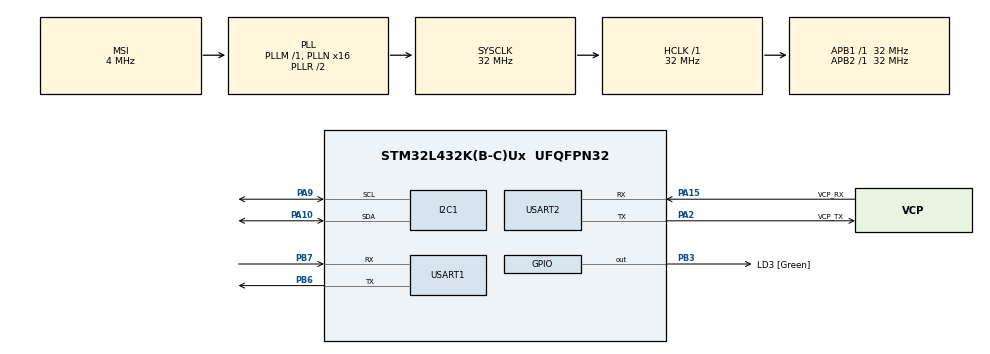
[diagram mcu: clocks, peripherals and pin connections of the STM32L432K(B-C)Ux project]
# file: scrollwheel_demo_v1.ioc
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I2C1.Timing=0x00707CBB
Mcu.Family=STM32L4
Mcu.Name=STM32L432K(B-C)Ux
Mcu.Package=UFQFPN32
NVIC.PriorityGroup=NVIC_PRIORITYGROUP_4
PA0.GPIO_Label=MCO [High speed clock in]
PA0.Mode=HSE-External-Clock-Source-for-LittleOrca
PA0.Signal=RCC_CK_IN
PA10.Mode=I2C
PA10.Signal=I2C1_SDA
PA13\ (JTMS-SWDIO).GPIO_Label=SWDIO
PA13\ (JTMS-SWDIO).Mode=Serial_Wire
PA13\ (JTMS-SWDIO).Signal=SYS_JTMS-SWDIO
PA14\ (JTCK-SWCLK).GPIO_Label=SWCLK
PA14\ (JTCK-SWCLK).Mode=Serial_Wire
PA14\ (JTCK-SWCLK).Signal=SYS_JTCK-SWCLK
PA15\ (JTDI).GPIO_Label=VCP_RX
PA15\ (JTDI).Mode=Asynchronous
PA15\ (JTDI).Signal=USART2_RX
PA2.GPIO_Label=VCP_TX
PA2.Mode=Asynchronous
PA2.Signal=USART2_TX
PA9.Mode=I2C
PA9.Signal=I2C1_SCL
PB3\ (JTDO-TRACESWO).GPIO_Label=LD3 [Green]
PB3\ (JTDO-TRACESWO).Signal=GPIO_Output
PB6.Mode=Asynchronous
PB6.Signal=USART1_TX
PB7.Mode=Asynchronous
PB7.Signal=USART1_RX
PC14-OSC32_IN\ (PC14).Mode=LSE-External-Oscillator
PC14-OSC32_IN\ (PC14).Signal=RCC_OSC32_IN
PC15-OSC32_OUT\ (PC15).Mode=LSE-External-Oscillator
PC15-OSC32_OUT\ (PC15).Signal=RCC_OSC32_OUT
ProjectManager.HeapSize=0x200
ProjectManager.StackSize=0x400
ProjectManager.TargetToolchain=STM32CubeIDE
RCC.ADCFreq_Value=16000000
RCC.AHBFreq_Value=32000000
RCC.APB1Freq_Value=32000000
RCC.APB1TimFreq_Value=32000000
RCC.APB2Freq_Value=32000000
RCC.APB2TimFreq_Value=32000000
RCC.CortexFreq_Value=32000000
RCC.HCLKFreq_Value=32000000
RCC.HSE_VALUE=8000000
RCC.HSI16_VALUE=16000000
RCC.HSI48_VALUE=48000000
RCC.HSI_VALUE=16000000
RCC.MSI_VALUE=4000000
RCC.PLLMUL=RCC_PLLMUL_4
RCC.PLLN=16
RCC.SYSCLKFreq_VALUE=32000000
RCC.SYSCLKSource=RCC_SYSCLKSOURCE_PLLCLK
RCC.USBFreq_Value=16000000
RCC.VCOOutputFreq_Value=64000000
USART1.VirtualMode-Asynchronous=VM_ASYNC
USART2.VirtualMode-Asynchronous=VM_ASYNC
board=NUCLEO-L432KC

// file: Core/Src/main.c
/* USER CODE BEGIN Header */
/**
  ******************************************************************************
  * @file           : main.c
  * @brief          : Main program body
  ******************************************************************************
  * @attention
  *
  * Copyright (c) 2024 STMicroelectronics.
  * All rights reserved.
  *
  * This software is licensed under terms that can be found in the LICENSE file
  * in the root directory of this software component.
  * If no LICENSE file comes with this software, it is provided AS-IS.
  *
  ******************************************************************************
  */
/* USER CODE END Header */
#include "main.h"
#include "stm32l4xx_hal.h"
#include "pram.h"

/* USER CODE BEGIN Includes */
#include <stdio.h>
#include <string.h>
#include <math.h>
#include <unistd.h>
#include <stdbool.h> // bool型を使用するために必要
#include <stdlib.h>  // exit関数を使用するために必要

//64bitデータを取り扱うにはコンパイル方式をreduced CからStandard Cに変更させる必要がある
#include <stdint.h>   // uint64_tの定義用
#include <inttypes.h> // PRIu64などのフォーマット指定子用
/* USER CODE END Includes */

/* USER CODE BEGIN PD */
#define Flash_Page_Size 2048  // 1ページ = 2048バイト（2KB）
#define FLASH_BASE_ADDR 0x08000000  // Flashメモリの開始アドレス
/* USER CODE END PD */

I2C_HandleTypeDef hi2c1;
UART_HandleTypeDef huart1;
UART_HandleTypeDef huart2;

/* USER CODE BEGIN PV */
uint8_t dev_address_1 = 0x10;    /* sensor1のスレーブアドレス */
uint8_t dev_address_2 = 0x11;    /* sensor2のスレーブアドレス */
uint8_t eeprom_address = 0x50;    /* eepromのスレーブアドレス,0b1010000 */

/* EEPROM格納用配列 */
double eeprom[1000];    /* すべて倍精度浮動小数点数型doubleで格納。ひとつの数値に8byte使う */
double flash[512];  // flash2ページ分のアドレス512

/* USER CODE END PV */

void SystemClock_Config(void);
static void MX_GPIO_Init(void);
static void MX_I2C1_Init(void);
static void MX_USART1_UART_Init(void);
static void MX_USART2_UART_Init(void);

/* USER CODE BEGIN PFP */

// Flashメモリへページ内のデータを保持しつつ、指定アドレスの内容を書き換える関数
// Flash全体は256KB(=128page*2048byte)
// Flashメモリの先頭からプログラムに使われるためデータ保存領域は最後の2ページ(2page*2048byte)を使う
// 127page範囲は0x0803F000から0x0803F7FFまで（2047）。
// 128page範囲は0x0803F800から0x0803FFFFまで（2047）。
// 例えば、アドレス0x0803F000に64ビット（8バイト）データを書き込む場合:
// データ: 0x12345678ABCDEF01（64ビット、8バイト）
// アドレスの割り当て:
// アドレス 0x0803F000: 0x01
// アドレス 0x0803F001: 0xEF
// アドレス 0x0803F002: 0xCD
// アドレス 0x0803F003: 0xAB
// アドレス 0x0803F004: 0x78
// アドレス 0x0803F005: 0x56
// アドレス 0x0803F006: 0x34
// アドレス 0x0803F007: 0x12
// 引数のaddressは0x0803F000の8バイトの倍数を入力する
// 引数のnew_dataは16バイトの数値を入力する

/**
 * 指定したページ、アドレスに64ビットのデータを書き込む関数
 *
 * @param page 書き込み対象のページ番号（0～127）
 * @param address ページ内のアドレス（0～255） -> 8バイト単位でアドレスを指定
 * @param new_data 書き込みたいデータ（double型）
 */
void Flash_Update(uint32_t page, uint32_t address, double new_data) {
    // 1. ページとアドレスの範囲チェック
    if (page > 127 || address >= Flash_Page_Size / 8) {
        printf("Error: Invalid page or address.\r\n");
        return;
    }

    // 2. 書き込み対象のページの開始アドレスを計算
    uint32_t page_start_address = FLASH_BASE_ADDR + (page * Flash_Page_Size);

    // 3. ページ内容をRAMにコピーするためのバッファ（256個の64ビットデータ）
    uint64_t page_data[Flash_Page_Size / 8];

    // 4. Flashメモリをアンロック
    HAL_FLASH_Unlock();

    // 5. ページの内容をRAMにコピー
    for (int i = 0; i < Flash_Page_Size / 8; i++) {
        page_data[i] = *((uint64_t*)(page_start_address + (i * 8)));
    }

    // 6. 書き込み対象のデータを更新
    int offset = address;  // 8バイト単位のアドレスを直接オフセットに使用
    page_data[offset] = *(uint64_t*)&new_data;  // double型をuint64_t型に変換して格納

    // 7. ページを消去
    FLASH_EraseInitTypeDef eraseInit;
    uint32_t pageError = 0;

    eraseInit.TypeErase = FLASH_TYPEERASE_PAGES;
    eraseInit.Page = page;
    eraseInit.NbPages = 1;

    if (HAL_FLASHEx_Erase(&eraseInit, &pageError) != HAL_OK) {
        printf("Error: Flash erase failed.\r\n");
        HAL_FLASH_Lock();
        return;
    }

    // 8. RAMバッファからFlashメモリに書き戻し
    for (int i = 0; i < Flash_Page_Size / 8; i++) {
        if (HAL_FLASH_Program(FLASH_TYPEPROGRAM_DOUBLEWORD,
                              page_start_address + (i * 8),
                              page_data[i]) != HAL_OK) {
            printf("Error: Flash programming failed.\r\n");
            HAL_FLASH_Lock();
            return;
        }
    }

    // 9. Flashメモリをロック
    HAL_FLASH_Lock();
}

/**
 * 指定したページとアドレスから64ビットのデータを読み出す関数
 *
 * @param page 読み出し対象のページ番号（0～127）
 * @param address ページ内のアドレス（0～255） -> 8バイト単位で指定
 * @return 読み取ったデータ（double型）
 */
double Flash_Read(uint32_t page, uint32_t address) {
    // 1. ページとアドレスの範囲チェック
    if (page > 127 || address >= Flash_Page_Size / 8) {
        printf("Error: Invalid page or address.\r\n");
        return 0.0;  // 無効な入力の場合は0.0を返す
    }

    // 2. 読み出し対象のアドレスを計算
    uint32_t target_address = FLASH_BASE_ADDR + (page * Flash_Page_Size) + (address * 8);

    // 3. Flashメモリから64ビットのデータを取得
    uint64_t raw_data = *(uint64_t*)target_address;

    // 4. 取得したデータをdouble型にキャストして返す
    return *(double*)&raw_data;
}

/* printfとscanfを使うためのマクロ設定
 * https://forum.digikey.com/t/stm32-scanf/21448
 * */
#ifdef __GNUC__
#define PUTCHAR_PROTOTYPE int __io_putchar(int ch)
#define GETCHAR_PROTOTYPE int __io_getchar(void)
#else
#define PUTCHAR_PROTOTYPE int fputc(int ch, FILE *f)
#define GETCHAR_PROTOTYPE int fgetc(FILE *f)
#endif

PUTCHAR_PROTOTYPE    // printfに関する
{
HAL_UART_Transmit(&huart2, (uint8_t *)&ch, 1, HAL_MAX_DELAY);
return ch;
}

GETCHAR_PROTOTYPE    // scanfに関する
{
uint8_t ch = 0;
__HAL_UART_CLEAR_OREFLAG(&huart2);
HAL_UART_Receive(&huart2, (uint8_t *)&ch, 1, HAL_MAX_DELAY);
return ch;
}

// eepromへの書き込みのための関数
// 注意：C言語では、使用する関数は、使用する場所から情報に記述されていなければならない（上から順にコンパイルされるため）
// この関数はcalibrationに使われるためそれよりも上方に記述する必要がある。そうでない場合エラーが出る。
void write_double_to_eeprom(double data, uint16_t address) {
    uint8_t byte_data[sizeof(double)]={};    // sizeof(double)はdouble型のバイト数、すなわち8。データ型はint。
    memcpy(byte_data, &data, sizeof(double));    // 変数dataのアドレスをbyte_dataの戦闘要素アドレスにコピー
    HAL_I2C_Mem_Write(&hi2c1, eeprom_address <<1, address, I2C_MEMADD_SIZE_16BIT, byte_data, sizeof(double), 1000);
    HAL_Delay(5);    // 【重要】 EEPROM書き込み待ち必要時間5ms(max)を待つ

    /* HAL_I2C_Mem_Write (
     * 	I2C_HandleTypeDef *hi2c,	"&hi2c1" 固定
     * 	uint16_t DevAddress,		スレーブアドレス
     * 	uint16_t MemAddress,		メモリアドレス（0000からFFFFの65536個）
     * 	uint16_t MemAddSize,		メモリアドレスのサイズ（16bit）
     * 	uint8_t *pData,				書き込むデータが格納されたバッファへのポインタ
     * 	uint16_t Size,				送信されるデータのバイト数　sizeof(double)なら8バイト
     * 	uint32_t Timeout)			タイムアウト 1000ms
     *
     * 	C言語では，配列名自身が先頭要素のアドレスを表わすことになっている．
     * 	たとえば，配列要素 a[0] のアドレスについては，a とだけ書けばよい． 長たらしく &a[0] と書く必要はない．
     */
}

// eepromから値を書き出すための関数
double read_double_from_eeprom(uint16_t address) {
    double data;
    uint8_t byte_data[sizeof(double)];
    // EEPROMからバイト単位でデータを読み出す
    HAL_I2C_Mem_Read(&hi2c1, eeprom_address <<1, address, I2C_MEMADD_SIZE_16BIT, byte_data, sizeof(double), 1000);
    // バイト配列をdouble型に変換
    memcpy(&data, byte_data, sizeof(double));
    return data;
}

// calibration実行関数
void calibration() {

	char str = '\0';    // 初期値null入れておく
	uint8_t s1_bxyz[7] = {0};    /* 7byte生データ(ST, Bx x2, By x2, Bz x2) の読み値 sensor1側*/
	uint8_t s2_bxyz[7] = {0};    /* 7byte生データ(ST, Bx x2, By x2, Bz x2) の読み値 sensor2側*/

	fflush(stdin);    // ひとつまえの命令の改行文字が残っているのでクリア
    printf("|| calibration mode ||\r\n");

    /* STEP1 : キータッチとホイール回転を16回繰り返して１周分のBx,By,Bzを取得 */
    for (int i = 0; i < 16; i++) {
        printf("press the Enter key to get (bx%d, by%d, bz%d).\r\n", i, i, i);
        scanf("%c", &str);    // どのキーを押してもscanfから抜けられる

        if (HAL_I2C_Mem_Read(&hi2c1, dev_address_1 <<1, 0x17, 1, s1_bxyz, 7, 1000) != HAL_OK) {
        	printf("I2C read failed for device 1. \r\n");
        	uint32_t error = HAL_I2C_GetError(&hi2c1);
        	printf("I2C Error: %lu\r\n", error);
        } else {
        	s1_raw_bx[i] = (s1_bxyz[5] << 8) | s1_bxyz[6];
        	s1_raw_by[i] = (s1_bxyz[3] << 8) | s1_bxyz[4];
        	s1_raw_bz[i] = (s1_bxyz[1] << 8) | s1_bxyz[2];
        }

        if (HAL_I2C_Mem_Read(&hi2c1, dev_address_2 <<1, 0x17, 1, s2_bxyz, 7, 1000) != HAL_OK) {
        	printf("I2C read failed for device 2. \r\n");
        } else {
        s2_raw_bx[i] = (s2_bxyz[5] << 8) | s2_bxyz[6];
        s2_raw_by[i] = (s2_bxyz[3] << 8) | s2_bxyz[4];
        s2_raw_bz[i] = (s2_bxyz[1] << 8) | s2_bxyz[2];
        }

        printf("Collected data s1(%d, %d, %d).\r\n", s1_raw_bx[i], s1_raw_by[i], s1_raw_bz[i]);
        printf("Collected data s2(%d, %d, %d).\r\n", s2_raw_bx[i], s2_raw_by[i], s2_raw_bz[i]);
    }

    printf("\r\n");
    for (int i = 0; i < 16; i++) {
        printf("(s1_raw_bx, s1_raw_bz) = (%d, %d)\r\n", s1_raw_bx[i], s1_raw_bz[i]);
    }

    printf("\r\n");
    for (int i = 0; i < 16; i++) {
        printf("(s2_raw_bx, s2_raw_bz) = (%d, %d)\r\n", s2_raw_bx[i], s2_raw_bz[i]);
    }

    /* STEP2 : Bx,By,Bzの最大値と最小値の配列番号（インデックス）を取得 */
    int s1_max_bx_index = 0, s1_min_bx_index = 0;    // s1_Bxの最大値・最小値のインデックス
    int s1_max_by_index = 0, s1_min_by_index = 0;    // s1_Byの最大値・最小値のインデックス
    int s1_max_bz_index = 0, s1_min_bz_index = 0;    // s1_Bzの最大値・最小値のインデックス
    int s2_max_bx_index = 0, s2_min_bx_index = 0;    // s2_Bxの最大値・最小値のインデックス
    int s2_max_by_index = 0, s2_min_by_index = 0;    // s2_Byの最大値・最小値のインデックス
    int s2_max_bz_index = 0, s2_min_bz_index = 0;    // s2_Bzの最大値・最小値のインデックス

    for (int i = 1; i < 16; i++) {
        if (s1_raw_bx[i] > s1_raw_bx[s1_max_bx_index]) {
            s1_max_bx_index = i;
        }
        if (s1_raw_bx[i] < s1_raw_bx[s1_min_bx_index]) {
            s1_min_bx_index = i;
        }
        if (s1_raw_by[i] > s1_raw_by[s1_max_by_index]) {
            s1_max_by_index = i;
        }
        if (s1_raw_by[i] < s1_raw_by[s1_min_by_index]) {
            s1_min_by_index = i;
        }
        if (s1_raw_bz[i] > s1_raw_bz[s1_max_bz_index]) {
            s1_max_bz_index = i;
        }
        if (s1_raw_bz[i] < s1_raw_bz[s1_min_bz_index]) {
            s1_min_bz_index = i;
        }
    }

    for (int i = 1; i < 16; i++) {
        if (s2_raw_bx[i] > s2_raw_bx[s2_max_bx_index]) {
            s2_max_bx_index = i;
        }
        if (s2_raw_bx[i] < s2_raw_bx[s2_min_bx_index]) {
            s2_min_bx_index = i;
        }
        if (s2_raw_by[i] > s2_raw_by[s2_max_by_index]) {
            s2_max_by_index = i;
        }
        if (s2_raw_by[i] < s2_raw_by[s2_min_by_index]) {
            s2_min_by_index = i;
        }
        if (s2_raw_bz[i] > s2_raw_bz[s2_max_bz_index]) {
            s2_max_bz_index = i;
        }
        if (s2_raw_bz[i] < s2_raw_bz[s2_min_bz_index]) {
            s2_min_bz_index = i;
        }
    }

    /* STEP3 : p2pとoffsetを取得 */
    s1_raw_bx_p2p = s1_raw_bx[s1_max_bx_index] - s1_raw_bx[s1_min_bx_index];
    s1_raw_by_p2p = s1_raw_by[s1_max_by_index] - s1_raw_by[s1_min_by_index];
    s1_raw_bz_p2p = s1_raw_bz[s1_max_bz_index] - s1_raw_bz[s1_min_bz_index];
    s1_raw_bx_offset = (double) (s1_raw_bx[s1_max_bx_index] + s1_raw_bx[s1_min_bx_index]) /2;
    s1_raw_by_offset = (double) (s1_raw_by[s1_max_by_index] + s1_raw_by[s1_min_by_index]) /2;
    s1_raw_bz_offset = (double) (s1_raw_bz[s1_max_bz_index] + s1_raw_bz[s1_min_bz_index]) /2;

    s2_raw_bx_p2p = s2_raw_bx[s2_max_bx_index] - s2_raw_bx[s2_min_bx_index];
    s2_raw_by_p2p = s2_raw_by[s2_max_by_index] - s2_raw_by[s2_min_by_index];
    s2_raw_bz_p2p = s2_raw_bz[s2_max_bz_index] - s2_raw_bz[s2_min_bz_index];
    s2_raw_bx_offset = (double) (s2_raw_bx[s2_max_bx_index] + s2_raw_bx[s2_min_bx_index]) /2;
    s2_raw_by_offset = (double) (s2_raw_by[s2_max_by_index] + s2_raw_by[s2_min_by_index]) /2;
    s2_raw_bz_offset = (double) (s2_raw_bz[s2_max_bz_index] + s2_raw_bz[s2_min_bz_index]) /2;

    /* STEP4 :  rawデータからoffsetを減算しp2pで除算した規格化データを取得 */
    for (int i = 0; i < 16; i++) {
        s1_std_bx[i] = (double) (s1_raw_bx[i] - s1_raw_bx_offset) / (double) (s1_raw_bx_p2p / 2);    /* 整数同士の除算はキャスト必要」 */
        s1_std_by[i] = (double) (s1_raw_by[i] - s1_raw_by_offset) / (double) (s1_raw_by_p2p / 2);
        s1_std_bz[i] = (double) (s1_raw_bz[i] - s1_raw_bz_offset) / (double) (s1_raw_bz_p2p / 2);
        s2_std_bx[i] = (double) (s2_raw_bx[i] - s2_raw_bx_offset) / (double) (s2_raw_bx_p2p / 2);
        s2_std_by[i] = (double) (s2_raw_by[i] - s2_raw_by_offset) / (double) (s2_raw_by_p2p / 2);
        s2_std_bz[i] = (double) (s2_raw_bz[i] - s2_raw_bz_offset) / (double) (s2_raw_bz_p2p / 2);
    }

    /* STEP5 : atanを取得 */
    for (int i = 0; i < 16; i++) {
        s1_atan[i] = atan(s1_std_bz[i] / s1_std_bx[i]);
        s2_atan[i] = atan(s2_std_bz[i] / s2_std_bx[i]);
    }

    /* STEP6 : std_bxの符号情報を取得 */
    for (int i = 0; i < 16; i++) {
        if (s1_std_bx[i] >=0) {
        	s1_std_bx_sign[i] = 1;    /* 正なら1 */
        } else {
        	s1_std_bx_sign[i] = 0;    /* 負なら0 */
        }

        if (s2_std_bx[i] >=0) {
        	s2_std_bx_sign[i] = 1;    /* 正なら1 */
        } else {
        	s2_std_bx_sign[i] = 0;    /* 負なら0 */
        }
    }

    /* STEP7 : thetaを取得 */
    for (int i = 0; i < 16; i++) {
    	if(s1_std_bx_sign[i] == 0){    // 0すなわち負なら
    		s1_theta[i] = (s1_atan[i] + M_PI / 2) * (180 / M_PI);
    	} else if(s1_std_bx_sign[i] == 1){    // 1すなわち正なら
    		s1_theta[i] = (s1_atan[i] + M_PI / 2) * (180 / M_PI) + 180;
    	}

    	if(s2_std_bx_sign[i] == 0){    // 0すなわち負なら
    		s2_theta[i] = (s2_atan[i] + M_PI / 2) * (180 / M_PI);
    	} else if(s2_std_bx_sign[i] == 1){    // 1すなわち正なら
    		s2_theta[i] = (s2_atan[i] + M_PI / 2) * (180 / M_PI) + 180;
    	}
    }

    /* STEP8 : 16個のtheta各々を中心値としてtoleranceを加減算した範囲を、それぞれの回転角エリアとして判定する */
    for (int i = 0; i < 16; i++) {
    	s1_theta_low[i] = s1_theta[i] - tolerance;
    	s1_theta_high[i] = s1_theta[i] + tolerance;
    	s2_theta_low[i] = s2_theta[i] - tolerance;
    	s2_theta_high[i] = s2_theta[i] + tolerance;

    	if(s1_theta_low[i] < 0) {
    		s1_theta_low[i] = s1_theta_low[i] + 360;    /* 0を下回った場合、360に飛ばす */
    	}
    	if(s1_theta_high[i] > 360) {
    		s1_theta_high[i] = s1_theta_high[i] - 360;    /* 360を上回った場合、0に飛ばす */
    	}
    	if(s2_theta_low[i] < 0) {
    		s2_theta_low[i] = s2_theta_low[i] + 360;    /* 0を下回った場合、360に飛ばす */
    	}
    	if(s2_theta_high[i] < 0) {
    		s2_theta_high[i] = s2_theta_high[i] + 360;    /* 0を下回った場合、360に飛ばす */
    	}
    }

    /* STEP9 : Θ(theta)データを出力 */
    printf("\r\n");
    printf("s1\r\n");
    printf("Θ_low, Θ_center, Θ_high\r\n");
    for (int i = 0; i < 16; i++) {
    	printf("%lf, %lf, %lf\r\n", s1_theta_low[i], s1_theta[i], s1_theta_high[i]);
    }
    printf("\r\n");
    printf("s2\r\n");
    printf("Θ_low, Θ_center, Θ_high\r\n");
    for (int i = 0; i < 16; i++) {
    	printf("%lf, %lf, %lf\r\n", s2_theta_low[i], s2_theta[i], s2_theta_high[i]);
    }

    return;
}

// プログラム実行
void operation() {

	/* STEP1 : 生データraw, オフセットoffset, 振幅p2p, 規格化データstdとそのsin^2+cos^2 の 変数定義 */
	int16_t s1_raw_bx_op;
	int16_t s1_raw_by_op;
	int16_t s1_raw_bz_op;
	double s1_std_bx_op;
	double s1_std_by_op;
	double s1_std_bz_op;
	double s1_sin2cos2;

	int16_t s2_raw_bx_op;
	int16_t s2_raw_by_op;
	int16_t s2_raw_bz_op;
	double s2_std_bx_op;
	double s2_std_by_op;
	double s2_std_bz_op;
	double s2_sin2cos2;

	double dif_sin2cos2;    // ふたつのsin^2+cos^2の引き算
	double sum_sin2cos2;    // ふたつのsin^2+cos^2の足し算

	/* STEP2 : Bx, By, Bzのデータ取得 */
	uint8_t s1_bxyz[7] = {0};    /* 7byte生データ(ST, Bx x2, By x2, Bz x2) の読み値 sensor1側*/
	uint8_t s2_bxyz[7] = {0};    /* 7byte生データ(ST, Bx x2, By x2, Bz x2) の読み値 sensor2側*/

	HAL_I2C_Mem_Read(&hi2c1, dev_address_1<<1, 0x17, 1, s1_bxyz, 7, 1000);    // 7byteデータを取得
    s1_raw_bx_op = (s1_bxyz[5] << 8) | s1_bxyz[6];
    s1_raw_by_op = (s1_bxyz[3] << 8) | s1_bxyz[4];
    s1_raw_bz_op = (s1_bxyz[1] << 8) | s1_bxyz[2];

    HAL_I2C_Mem_Read(&hi2c1, dev_address_2<<1, 0x17, 1, s2_bxyz, 7, 1000);    // 7byteデータを取得
    s2_raw_bx_op = (s2_bxyz[5] << 8) | s2_bxyz[6];
    s2_raw_by_op = (s2_bxyz[3] << 8) | s2_bxyz[4];
    s2_raw_bz_op = (s2_bxyz[1] << 8) | s2_bxyz[2];

    /* STEP3 : 規格化データを導出 */
  	s1_std_bx_op = (double) (s1_raw_bx_op - s1_raw_bx_offset) / (double) (s1_raw_bx_p2p /2);
    s1_std_by_op = (double) (s1_raw_by_op - s1_raw_by_offset) / (double) (s1_raw_by_p2p /2);
  	s1_std_bz_op = (double) (s1_raw_bz_op - s1_raw_bz_offset) / (double) (s1_raw_bz_p2p /2);
  	s2_std_bx_op = (double) (s2_raw_bx_op - s2_raw_bx_offset) / (double) (s2_raw_bx_p2p /2);
  	s2_std_by_op = (double) (s2_raw_by_op - s2_raw_by_offset) / (double) (s2_raw_by_p2p /2);
  	s2_std_bz_op = (double) (s2_raw_bz_op - s2_raw_bz_offset) / (double) (s2_raw_bz_p2p /2);

  	/* STEP4 : sin^2+cos^2を計算 */
  	s1_sin2cos2 = pow(s1_std_bx_op,2) + pow(s1_std_bz_op,2);    /* 乗数を作るpow関数の戻り値はdouble型 */
  	s2_sin2cos2 = pow(s2_std_bx_op,2) + pow(s2_std_bz_op,2);

  	/* STEP5-1 : 左右チルト5段階判定 */
//	double dif_sin2cos2_s1_side_0_lower = 0.70;		// S1側 第1領域　下限
//	double dif_sin2cos2_s1_side_0_upper = 0.95;		// S1側 第1領域　上限
//	double dif_sin2cos2_s1_side_1_upper = 1.20;		// S1側 第2領域　上限
//	double dif_sin2cos2_s1_side_2_upper = 1.45;		// S1側 第3領域　上限
//	double dif_sin2cos2_s1_side_3_upper = 1.70;		// S1側 第4領域　上限
//	double dif_sin2cos2_s1_side_4_upper = 10;		// S1側 第5領域　上現
//
//	double dif_sin2cos2_s2_side_0_upper = -0.70;	// S2側 第1領域　上限
//	double dif_sin2cos2_s2_side_0_lower = -0.95;	// S2側　第1領域　下限
//	double dif_sin2cos2_s2_side_1_lower = -1.20;	// S2側　第2領域　下限
//	double dif_sin2cos2_s2_side_2_lower = -1.45;	// S2側　第3領域　下限
//	double dif_sin2cos2_s2_side_3_lower = -1.70;	// S2側　第4領域　下限
//	double dif_sin2cos2_s2_side_4_lower = -10;		// S2側　第5領域　下限

  	dif_sin2cos2 = s1_sin2cos2 - s2_sin2cos2;

  	if (dif_sin2cos2 >= dif_sin2cos2_s1_side_0_lower && dif_sin2cos2 < dif_sin2cos2_s1_side_0_upper) {
  		printf("RT0\n");
  		return;
  	} else if (dif_sin2cos2 >= dif_sin2cos2_s1_side_0_upper && dif_sin2cos2 < dif_sin2cos2_s1_side_1_upper) {
  		printf("RT1\n");
  		return;
  	} else if (dif_sin2cos2 >= dif_sin2cos2_s1_side_1_upper && dif_sin2cos2 < dif_sin2cos2_s1_side_2_upper) {
  		printf("RT2\n");
  		return;
  	} else if (dif_sin2cos2 >= dif_sin2cos2_s1_side_2_upper && dif_sin2cos2 < dif_sin2cos2_s1_side_3_upper) {
  		printf("RT3\n");
  		return;
  	} else if (dif_sin2cos2 >= dif_sin2cos2_s1_side_3_upper && dif_sin2cos2 < dif_sin2cos2_s1_side_4_upper) {
  		printf("RT4\n");
  		return;
  	} else if (dif_sin2cos2 <= dif_sin2cos2_s2_side_0_upper && dif_sin2cos2 > dif_sin2cos2_s2_side_0_lower) {
  		printf("LT0\n");
  		return;
  	} else if (dif_sin2cos2 <= dif_sin2cos2_s2_side_0_lower && dif_sin2cos2 > dif_sin2cos2_s2_side_1_lower) {
  		printf("LT1\n");
  		return;
  	} else if (dif_sin2cos2 <= dif_sin2cos2_s2_side_1_lower && dif_sin2cos2 > dif_sin2cos2_s2_side_2_lower) {
  		printf("LT2\n");
  		return;
  	} else if (dif_sin2cos2 <= dif_sin2cos2_s2_side_2_lower && dif_sin2cos2 > dif_sin2cos2_s2_side_3_lower) {
  		printf("LT3\n");
  		return;
  	} else if (dif_sin2cos2 <= dif_sin2cos2_s2_side_3_lower && dif_sin2cos2 > dif_sin2cos2_s2_side_4_lower) {
  		printf("LT4\n");
  		return;
  	}

  	/* STEP6-1 : プッシュ5段階判定 */
//  	double sum_sin2cos2_push_0_lower = 2.75;	// 押し込み 第1領域 下限
//  	double sum_sin2cos2_push_0_upper = 3.00;	// 押し込み 第1領域 上限
//  	double sum_sin2cos2_push_1_upper = 3.25;	// 押し込み 第2領域 上限
//  	double sum_sin2cos2_push_2_upper = 3.50;	// 押し込み 第3領域 上限
//  	double sum_sin2cos2_push_3_upper = 3.75;	// 押し込み 第4領域 上限
//  	double sum_sin2cos2_push_4_upper = 10;		// 押し込み 第5領域 上限

  	sum_sin2cos2 = s1_sin2cos2 + s2_sin2cos2;

  	if (sum_sin2cos2 >= sum_sin2cos2_push_0_lower && sum_sin2cos2 < sum_sin2cos2_push_0_upper) {
  		printf("PS0\n");
  		return;
  	} else if (sum_sin2cos2 >= sum_sin2cos2_push_0_upper && sum_sin2cos2 < sum_sin2cos2_push_1_upper) {
  		printf("PS1\n");
  		return;
  	} else if (sum_sin2cos2 >= sum_sin2cos2_push_1_upper && sum_sin2cos2 < sum_sin2cos2_push_2_upper) {
  		printf("PS2\n");
  		return;
  	} else if (sum_sin2cos2 >= sum_sin2cos2_push_2_upper && sum_sin2cos2 < sum_sin2cos2_push_3_upper) {
  		printf("PS3\n");
  		return;
  	} else if (sum_sin2cos2 >= sum_sin2cos2_push_3_upper && sum_sin2cos2 < sum_sin2cos2_push_4_upper) {
  		printf("PS4\n");
  		return;
  	}

  	/* STEP7 : s1の信号のみでATANの計算 */
  	double s1_atan_op = atan(s1_std_bz_op / s1_std_bx_op);

  	/* STEP8 : s1の信号のみで符号をみてエリアの判定 */
  	uint8_t s1_std_bx_sign_op;
  	if(s1_std_bx_op >= 0){    // 正なら1
  	   s1_std_bx_sign_op = 1;
  	}
  	else if(s1_std_bx_op < 0){    // 負なら0
   	   s1_std_bx_sign_op = 0;
  	}

  	/* STEP9 : s1の信号のみで角度情報thetaを取得 */
  	double s1_theta_op;

  	if(s1_std_bx_sign_op == 0){    // 0すなわち負なら
  		s1_theta_op = (s1_atan_op + M_PI / 2) * (180 / M_PI);
  	}
  	else if(s1_std_bx_sign_op == 1){    // 1すなわち正なら
  		s1_theta_op = (s1_atan_op + M_PI / 2) * (180 / M_PI) + 180;
  	}

  	/* STEP10 : theta_op と calibrationで取得したtheta_lowやhighを比較し、第何回転エリアかを特定する
  	 * thetaは360°でループするため、エリア判定のしきい値が(low, high)=(355, 15)などとlow>highとならないケースがある
  	 * よって以下のパターン毎に処理を変える
  	 * pattern1； (low, high) = (355, 15) などのように、lowしきい値が大きい数のとき
  	 * pattern2; (low, high) = (5, 25) などのように、highしきい値が大きい数のとき
  	 */
  	int i;
  	int j;
  	for (i=0;i<16;i++){
  	   /* pattern 1 */
  		if(s1_theta_low[i] > s1_theta_high[i]) {    // 参照するエリアの上下限が(low,high)= (355,15)となっている場合
  	      if(s1_theta_op >= s1_theta_low[i] || s1_theta_op <= s1_theta_high[i] ){    // 例えば356なら正,14なら正、354なら負、16なら負
  	    	  j = i;
  	    	  break;
  	      }
  		}
  		/* pattern 2 */
  		else {   // 例えば(low,high)=(5,25)などの場合
  			if(s1_theta_op <= s1_theta_high[i] && s1_theta_op >= s1_theta_low[i] ) {
  				j = i;
  				break;
  			}
  		}
  	}

  	/* STEP11 : S00からS15まで、3文字表現でprintf出力する */
  	if (j < 10) {
  		printf("S0%d\n", j);
  	} else {
  		printf("S%d\n", j);
  	}

  	return;
}

void com_debug() {
    for (uint8_t address = 1; address < 128; address++) {
        // HAL_I2C_IsDeviceReady関数を使用してデバイスが応答するかどうかを確認
        if (HAL_I2C_IsDeviceReady(&hi2c1, address << 1, 1, 1000) == HAL_OK) {
            printf("Device found at address: 0x%02X\r\n", address);
        }
    }
}

void tolerance_setting() {
	char temp1[100];
	printf("Current tolerance setting = %lf\r\n", tolerance);
	printf("new sensitivity of center push ? = \r\n");
	scanf("%s", temp1);
	printf("%s\r\n", temp1);
	tolerance = atof(temp1);
	printf("new tolerance = %lf\r\n", tolerance);
}

void eeprom_read() {
	uint16_t i;
	uint16_t j;
	for(i=0; i<368; i++) {
		j = i * sizeof(double);
		eeprom[i]=read_double_from_eeprom(j);
	}
}

void load_from_flash (){
	uint16_t i;
	for(i=0; i<16; i++) {
		s1_raw_bx[i] = Flash_Read(126,i);
		s1_raw_by[i] = Flash_Read(126,i+16);
		s1_raw_bz[i] = Flash_Read(126,i+32);
		s2_raw_bx[i] = Flash_Read(126,i+48);
		s2_raw_by[i] = Flash_Read(126,i+64);
		s2_raw_bz[i] = Flash_Read(126,i+80);
		s1_std_bx[i] = Flash_Read(126,i+108);
		s1_std_by[i] = Flash_Read(126,i+124);
		s1_std_bz[i] = Flash_Read(126,i+140);
		s2_std_bx[i] = Flash_Read(126,i+156);
		s2_std_by[i] = Flash_Read(126,i+172);
		s2_std_bz[i] = Flash_Read(126,i+188);
		s1_atan[i] = Flash_Read(126,i+204);
		s2_atan[i] = Flash_Read(126,i+220);
		s1_std_bx_sign[i] = Flash_Read(126,i+236);
		s2_std_bx_sign[i] = Flash_Read(127,i);
		s1_theta[i] = Flash_Read(127,i+16);
		s2_theta[i] = Flash_Read(127,i+32);
		s1_theta_low[i] = Flash_Read(127,i+48);
		s2_theta_low[i] = Flash_Read(127,i+64);
		s1_theta_high[i] = Flash_Read(127,i+80);
		s2_theta_high[i] = Flash_Read(127,i+96);
	}

	s1_raw_bx_p2p = Flash_Read(126,96);
	s1_raw_by_p2p = Flash_Read(126,97);
	s1_raw_bz_p2p = Flash_Read(126,98);
	s1_raw_bx_offset = Flash_Read(126,99);
	s1_raw_by_offset = Flash_Read(126,100);
	s1_raw_bz_offset = Flash_Read(126,101);
	s2_raw_bx_p2p = Flash_Read(126,102);
	s2_raw_by_p2p = Flash_Read(126,103);
	s2_raw_bz_p2p = Flash_Read(126,104);
	s2_raw_bx_offset = Flash_Read(126,105);
	s2_raw_by_offset = Flash_Read(126,106);
	s2_raw_bz_offset = Flash_Read(126,107);
	tolerance = Flash_Read(127,112);
	dif_sin2cos2_s1_side_0_lower = Flash_Read(127,113);
	dif_sin2cos2_s1_side_0_upper = Flash_Read(127,114);
	dif_sin2cos2_s1_side_1_upper = Flash_Read(127,115);
	dif_sin2cos2_s1_side_2_upper = Flash_Read(127,116);
	dif_sin2cos2_s1_side_3_upper = Flash_Read(127,117);
	dif_sin2cos2_s1_side_4_upper = Flash_Read(127,118);
	dif_sin2cos2_s2_side_0_lower = Flash_Read(127,119);
	dif_sin2cos2_s2_side_0_upper = Flash_Read(127,120);
	dif_sin2cos2_s2_side_1_lower = Flash_Read(127,121);
	dif_sin2cos2_s2_side_2_lower = Flash_Read(127,122);
	dif_sin2cos2_s2_side_3_lower = Flash_Read(127,123);
	dif_sin2cos2_s2_side_4_lower = Flash_Read(127,124);
	sum_sin2cos2_push_0_lower = Flash_Read(127,125);
	sum_sin2cos2_push_0_upper = Flash_Read(127,126);
	sum_sin2cos2_push_1_upper = Flash_Read(127,127);
	sum_sin2cos2_push_2_upper = Flash_Read(127,128);
	sum_sin2cos2_push_3_upper = Flash_Read(127,129);
	sum_sin2cos2_push_4_upper = Flash_Read(127,130);
}

void store_to_flash() {
    uint16_t i;

    // 1. Flashメモリをアンロック
    HAL_FLASH_Unlock();

    // 2. Flashページ126と127の消去準備
    FLASH_EraseInitTypeDef eraseInit;
    uint32_t pageError = 0;

    eraseInit.TypeErase = FLASH_TYPEERASE_PAGES;
    eraseInit.Page = 126;  // 最初のページ
    eraseInit.NbPages = 2; // 126と127の2ページを消去

    // ページ消去の実行
    if (HAL_FLASHEx_Erase(&eraseInit, &pageError) != HAL_OK) {
        printf("Flash erase failed.\r\n");
        HAL_FLASH_Lock();
        return;
    }

    // 3. Flashにデータを書き込み
    for (i = 0; i < 16; i++) {
        Flash_Update(126, i, s1_raw_bx[i]);
        Flash_Update(126, i + 16, s1_raw_by[i]);
        Flash_Update(126, i + 32, s1_raw_bz[i]);
        Flash_Update(126, i + 48, s2_raw_bx[i]);
        Flash_Update(126, i + 64, s2_raw_by[i]);
        Flash_Update(126, i + 80, s2_raw_bz[i]);
        Flash_Update(126, i + 108, s1_std_bx[i]);
        Flash_Update(126, i + 124, s1_std_by[i]);
        Flash_Update(126, i + 140, s1_std_bz[i]);
        Flash_Update(126, i + 156, s2_std_bx[i]);
        Flash_Update(126, i + 172, s2_std_by[i]);
        Flash_Update(126, i + 188, s2_std_bz[i]);
        Flash_Update(126, i + 204, s1_atan[i]);
        Flash_Update(126, i + 220, s2_atan[i]);
        Flash_Update(126, i + 236, s1_std_bx_sign[i]);
        Flash_Update(127, i, s2_std_bx_sign[i]);
        Flash_Update(127, i + 16, s1_theta[i]);
        Flash_Update(127, i + 32, s2_theta[i]);
        Flash_Update(127, i + 48, s1_theta_low[i]);
        Flash_Update(127, i + 64, s2_theta_low[i]);
        Flash_Update(127, i + 80, s1_theta_high[i]);
        Flash_Update(127, i + 96, s2_theta_high[i]);
    }

    // 4. その他のデータの書き込み
    Flash_Update(126, 96, s1_raw_bx_p2p);
    Flash_Update(126, 97, s1_raw_by_p2p);
    Flash_Update(126, 98, s1_raw_bz_p2p);
    Flash_Update(126, 99, s1_raw_bx_offset);
    Flash_Update(126, 100, s1_raw_by_offset);
    Flash_Update(126, 101, s1_raw_bz_offset);
    Flash_Update(126, 102, s2_raw_bx_p2p);
    Flash_Update(126, 103, s2_raw_by_p2p);
    Flash_Update(126, 104, s2_raw_bz_p2p);
    Flash_Update(126, 105, s2_raw_bx_offset);
    Flash_Update(126, 106, s2_raw_by_offset);
    Flash_Update(126, 107, s2_raw_bz_offset);

    Flash_Update(127, 112, tolerance);
    Flash_Update(127, 113, dif_sin2cos2_s1_side_0_lower);
    Flash_Update(127, 114, dif_sin2cos2_s1_side_0_upper);
    Flash_Update(127, 115, dif_sin2cos2_s1_side_1_upper);
    Flash_Update(127, 116, dif_sin2cos2_s1_side_2_upper);
    Flash_Update(127, 117, dif_sin2cos2_s1_side_3_upper);
    Flash_Update(127, 118, dif_sin2cos2_s1_side_4_upper);
    Flash_Update(127, 119, dif_sin2cos2_s2_side_0_lower);
    Flash_Update(127, 120, dif_sin2cos2_s2_side_0_upper);
    Flash_Update(127, 121, dif_sin2cos2_s2_side_1_lower);
    Flash_Update(127, 122, dif_sin2cos2_s2_side_2_lower);
    Flash_Update(127, 123, dif_sin2cos2_s2_side_3_lower);
    Flash_Update(127, 124, dif_sin2cos2_s2_side_4_lower);
    Flash_Update(127, 125, sum_sin2cos2_push_0_lower);
    Flash_Update(127, 126, sum_sin2cos2_push_0_upper);
    Flash_Update(127, 127, sum_sin2cos2_push_1_upper);
    Flash_Update(127, 128, sum_sin2cos2_push_2_upper);
    Flash_Update(127, 129, sum_sin2cos2_push_3_upper);
    Flash_Update(127, 130, sum_sin2cos2_push_4_upper);

    // 5. Flashメモリをロック
    HAL_FLASH_Lock();
}

/* USER CODE END PFP */

int main(void)
{

  /* MCU Configuration--------------------------------------------------------*/

  /* Reset of all peripherals, Initializes the Flash interface and the Systick. */
HAL_Init();

  /* USER CODE BEGIN Init */
  setvbuf(stdin, NULL, _IONBF, 0);    // scanf/printfに関する。バッファを初期化。
  char input[100];
  uint8_t cntl_w[1]={0x10};    // Addr0x21のOperation modeの設定　（例　0x10 = ODR 2000Hz 連続測定モード）

  /* USER CODE END Init */

  /* Configure the system clock */
  SystemClock_Config();

  /* Initialize all configured peripherals */
  MX_GPIO_Init();
  MX_I2C1_Init();
  MX_USART1_UART_Init();
  MX_USART2_UART_Init();

  /* USER CODE BEGIN 2 */

  /* Console(TeraTerm)立ち上げ時に表示 */
  printf("\nWelcome to the interactive command prompt.\r\n");

  /* Device ID読み出せたら、Addr0x21にData0x10でPower-downモード以外に入って出力モニタできるようになる */
  if (HAL_I2C_Mem_Write(&hi2c1, dev_address_1<<1, 0x21, 1, cntl_w, 1, 1000) != HAL_OK) {
	  printf("I2C communication was failed.");
  }
  if (HAL_I2C_Mem_Write(&hi2c1, dev_address_2<<1, 0x21, 1, cntl_w, 1, 1000) != HAL_OK) {
	  printf("I2C communication was failed.");
  }

  // flashの値をバッファに格納
  load_from_flash();

  /* バッファの値を各変数に定義 */
  tolerance = 10;				// 10　が基本。toleranceは初期値設定されているが、ここでEEPROM格納値に更新される。
  /* USER CODE END 2 */

  /* Infinite loop */
  while (1)
  {

    /* USER CODE BEGIN 3 */
	  printf("1:calibration\r\n");
	  printf("2:store value from buffer to flash memory\r\n");
	  printf("3:load value from flash memory to buffer\r\n");
	  printf("4:tolerance setting\r\n");
	  printf("5:operation\r\n");
	  printf("6:exit\r\n");
	  printf("7:just read flash memory\r\n");
	  scanf("%s", input);

      if (strcmp(input, "1") == 0) {
          calibration();
      } else if (strcmp(input, "2") == 0) {
    	  store_to_flash();
      } else if (strcmp(input, "3") == 0) {
    	  load_from_flash();
    	  printf("\r\n");
    	  for(int i=0; i<256; i++) {
    		  printf("page:126, address:%d, data:%lf\r\n",i,Flash_Read(126,i));
    	  }
    	  for(int i=0; i<256; i++) {
    		  printf("page:127, address:%d, data:%lf\r\n",i,Flash_Read(127,i));
    	  }
      } else if (strcmp(input, "4") == 0) {
    	  tolerance_setting();
      } else if (strcmp(input, "5") == 0) {
    	  while (1) {
    		  operation();
    		  HAL_Delay(2);   // 繰り返し出力の待ち時間はここで決まる
    	  }
      } else if (strcmp(input, "6") == 0) {
    	  com_debug();
      } else if (strcmp(input, "7") == 0) {
    	  printf("\r\n");
    	  for(int i=0; i<256; i++) {
    		  printf("page:126, address:%d, data:%lf\r\n",i,Flash_Read(126,i));
    	  }
    	  for(int i=0; i<256; i++) {
    		  printf("page:127, address:%d, data:%lf\r\n",i,Flash_Read(127,i));
    	  }
      } else {
          printf("Invalid command.\r\n");
      }

	  HAL_Delay (100);
  }
  /* USER CODE END 3 */
}

void SystemClock_Config(void)
{
  RCC_OscInitTypeDef RCC_OscInitStruct = {0};
  RCC_ClkInitTypeDef RCC_ClkInitStruct = {0};

  /** Configure the main internal regulator output voltage
  */
  if (HAL_PWREx_ControlVoltageScaling(PWR_REGULATOR_VOLTAGE_SCALE1) != HAL_OK)
  {
    Error_Handler();
  }

  /** Configure LSE Drive Capability
  */
  HAL_PWR_EnableBkUpAccess();
  __HAL_RCC_LSEDRIVE_CONFIG(RCC_LSEDRIVE_LOW);

  /** Initializes the RCC Oscillators according to the specified parameters
  * in the RCC_OscInitTypeDef structure.
  */
  RCC_OscInitStruct.OscillatorType = RCC_OSCILLATORTYPE_LSE|RCC_OSCILLATORTYPE_MSI;
  RCC_OscInitStruct.LSEState = RCC_LSE_ON;
  RCC_OscInitStruct.MSIState = RCC_MSI_ON;
  RCC_OscInitStruct.MSICalibrationValue = 0;
  RCC_OscInitStruct.MSIClockRange = RCC_MSIRANGE_6;
  RCC_OscInitStruct.PLL.PLLState = RCC_PLL_ON;
  RCC_OscInitStruct.PLL.PLLSource = RCC_PLLSOURCE_MSI;
  RCC_OscInitStruct.PLL.PLLM = 1;
  RCC_OscInitStruct.PLL.PLLN = 16;
  RCC_OscInitStruct.PLL.PLLP = RCC_PLLP_DIV7;
  RCC_OscInitStruct.PLL.PLLQ = RCC_PLLQ_DIV2;
  RCC_OscInitStruct.PLL.PLLR = RCC_PLLR_DIV2;
  if (HAL_RCC_OscConfig(&RCC_OscInitStruct) != HAL_OK)
  {
    Error_Handler();
  }

  /** Initializes the CPU, AHB and APB buses clocks
  */
  RCC_ClkInitStruct.ClockType = RCC_CLOCKTYPE_HCLK|RCC_CLOCKTYPE_SYSCLK
                              |RCC_CLOCKTYPE_PCLK1|RCC_CLOCKTYPE_PCLK2;
  RCC_ClkInitStruct.SYSCLKSource = RCC_SYSCLKSOURCE_PLLCLK;
  RCC_ClkInitStruct.AHBCLKDivider = RCC_SYSCLK_DIV1;
  RCC_ClkInitStruct.APB1CLKDivider = RCC_HCLK_DIV1;
  RCC_ClkInitStruct.APB2CLKDivider = RCC_HCLK_DIV1;

  if (HAL_RCC_ClockConfig(&RCC_ClkInitStruct, FLASH_LATENCY_1) != HAL_OK)
  {
    Error_Handler();
  }

  /** Enable MSI Auto calibration
  */
  HAL_RCCEx_EnableMSIPLLMode();
}

static void MX_I2C1_Init(void)
{

  hi2c1.Instance = I2C1;
  hi2c1.Init.Timing = 0x00707CBB;
  hi2c1.Init.OwnAddress1 = 0;
  hi2c1.Init.AddressingMode = I2C_ADDRESSINGMODE_7BIT;
  hi2c1.Init.DualAddressMode = I2C_DUALADDRESS_DISABLE;
  hi2c1.Init.OwnAddress2 = 0;
  hi2c1.Init.OwnAddress2Masks = I2C_OA2_NOMASK;
  hi2c1.Init.GeneralCallMode = I2C_GENERALCALL_DISABLE;
  hi2c1.Init.NoStretchMode = I2C_NOSTRETCH_DISABLE;
  if (HAL_I2C_Init(&hi2c1) != HAL_OK)
  {
    Error_Handler();
  }

  /** Configure Analogue filter
  */
  if (HAL_I2CEx_ConfigAnalogFilter(&hi2c1, I2C_ANALOGFILTER_ENABLE) != HAL_OK)
  {
    Error_Handler();
  }

  /** Configure Digital filter
  */
  if (HAL_I2CEx_ConfigDigitalFilter(&hi2c1, 0) != HAL_OK)
  {
    Error_Handler();
  }

}

static void MX_USART1_UART_Init(void)
{

  huart1.Instance = USART1;
  huart1.Init.BaudRate = 115200;
  huart1.Init.WordLength = UART_WORDLENGTH_8B;
  huart1.Init.StopBits = UART_STOPBITS_1;
  huart1.Init.Parity = UART_PARITY_NONE;
  huart1.Init.Mode = UART_MODE_TX_RX;
  huart1.Init.HwFlowCtl = UART_HWCONTROL_NONE;
  huart1.Init.OverSampling = UART_OVERSAMPLING_16;
  huart1.Init.OneBitSampling = UART_ONE_BIT_SAMPLE_DISABLE;
  huart1.AdvancedInit.AdvFeatureInit = UART_ADVFEATURE_NO_INIT;
  if (HAL_UART_Init(&huart1) != HAL_OK)
  {
    Error_Handler();
  }

}

static void MX_USART2_UART_Init(void)
{

  huart2.Instance = USART2;
  huart2.Init.BaudRate = 115200;
  huart2.Init.WordLength = UART_WORDLENGTH_8B;
  huart2.Init.StopBits = UART_STOPBITS_1;
  huart2.Init.Parity = UART_PARITY_NONE;
  huart2.Init.Mode = UART_MODE_TX_RX;
  huart2.Init.HwFlowCtl = UART_HWCONTROL_NONE;
  huart2.Init.OverSampling = UART_OVERSAMPLING_16;
  huart2.Init.OneBitSampling = UART_ONE_BIT_SAMPLE_DISABLE;
  huart2.AdvancedInit.AdvFeatureInit = UART_ADVFEATURE_NO_INIT;
  if (HAL_UART_Init(&huart2) != HAL_OK)
  {
    Error_Handler();
  }

}

static void MX_GPIO_Init(void)
{
  GPIO_InitTypeDef GPIO_InitStruct = {0};

  /* GPIO Ports Clock Enable */
  __HAL_RCC_GPIOC_CLK_ENABLE();
  __HAL_RCC_GPIOA_CLK_ENABLE();
  __HAL_RCC_GPIOB_CLK_ENABLE();

  /*Configure GPIO pin Output Level */
  HAL_GPIO_WritePin(LD3_GPIO_Port, LD3_Pin, GPIO_PIN_RESET);

  /*Configure GPIO pin : LD3_Pin */
  GPIO_InitStruct.Pin = LD3_Pin;
  GPIO_InitStruct.Mode = GPIO_MODE_OUTPUT_PP;
  GPIO_InitStruct.Pull = GPIO_NOPULL;
  GPIO_InitStruct.Speed = GPIO_SPEED_FREQ_LOW;
  HAL_GPIO_Init(LD3_GPIO_Port, &GPIO_InitStruct);

}

/* USER CODE BEGIN 4 */
//追加; printfの内部で実際に書き込み処理をしているのは_write()関数です。_write()関数はweak宣言されているので、新しく作って上書きした形になります。
int _write(int file, char *ptr, int len)
{
  HAL_UART_Transmit(&huart2,(uint8_t *)ptr,len,10);
  return len;
}
/* USER CODE END 4 */

void Error_Handler(void)
{
  __disable_irq();
  while (1)
  {
  }
}
